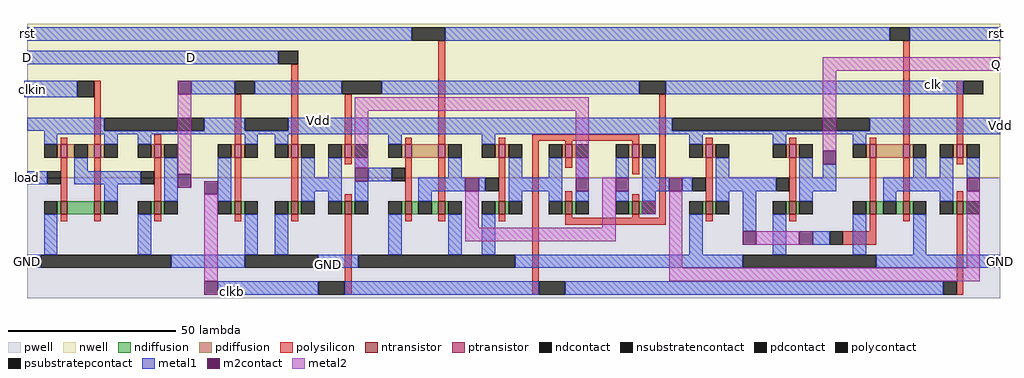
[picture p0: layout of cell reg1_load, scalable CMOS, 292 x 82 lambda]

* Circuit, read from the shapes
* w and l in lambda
.subckt reg1_load D GND Q Vdd clk clkb clkin load rst
M1 n1 load GND GND nfet w=4 l=2
M2 n2 clkin n1 GND nfet w=4 l=2
M3 clk n2 GND GND nfet w=4 l=2
M4 GND clk clkb GND nfet w=4 l=2
M5 n3 D GND GND nfet w=4 l=2
M6 n4 clkb n3 GND nfet w=4 l=2
M7 n5 n4 GND GND nfet w=4 l=2
M8 GND rst n5 GND nfet w=4 l=2
M9 n6 n5 GND GND nfet w=4 l=2
M10 n4 clk n6 GND nfet w=4 l=2
M11 n7 clk n5 GND nfet w=4 l=2
M12 n8 n7 GND GND nfet w=4 l=2
M13 Q n8 GND GND nfet w=4 l=2
M14 n9 n8 GND GND nfet w=4 l=2
M15 GND rst n9 GND nfet w=4 l=2
M16 n10 clkb n9 GND nfet w=4 l=2
M17 n2 load Vdd Vdd pfet w=4 l=2
M18 Vdd clkin n2 Vdd pfet w=4 l=2
M19 clk n2 Vdd Vdd pfet w=4 l=2
M20 Vdd clk clkb Vdd pfet w=4 l=2
M21 n3 D Vdd Vdd pfet w=4 l=2
M22 n4 clk n3 Vdd pfet w=4 l=2
M23 n11 n4 Vdd Vdd pfet w=4 l=2
M24 n5 rst n11 Vdd pfet w=4 l=2
M25 n6 n5 Vdd Vdd pfet w=4 l=2
M26 n4 clkb n6 Vdd pfet w=4 l=2
M27 n7 clkb n5 Vdd pfet w=4 l=2
M28 n8 n7 Vdd Vdd pfet w=4 l=2
M29 Q n8 Vdd Vdd pfet w=4 l=2
M30 n12 n8 Vdd Vdd pfet w=4 l=2
M31 n9 rst n12 Vdd pfet w=4 l=2
M32 n7 clk n9 Vdd pfet w=4 l=2
.ends

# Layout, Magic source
magic
tech scmos
<< pwell >>
rect -51 91 240 127
<< nwell >>
rect -51 127 240 173
<< polysilicon >>
rect -41 137 -39 139
rect -31 137 -29 156
rect -13 137 -11 140
rect 11 137 13 152
rect 28 137 30 161
rect 44 137 46 152
rect 62 137 64 139
rect 72 137 74 168
rect 90 137 92 139
rect 100 138 132 140
rect -41 120 -39 133
rect -31 120 -29 133
rect -13 120 -11 133
rect 11 120 13 133
rect 28 120 30 133
rect 44 131 46 133
rect 44 120 46 122
rect 62 120 64 133
rect 72 120 74 133
rect 90 120 92 133
rect -41 114 -39 116
rect -31 114 -29 116
rect -13 114 -11 116
rect 11 114 13 116
rect 28 114 30 116
rect 44 92 46 116
rect 62 114 64 116
rect 72 114 74 116
rect 90 114 92 116
rect 100 92 102 138
rect 110 137 112 138
rect 130 137 132 138
rect 110 130 112 133
rect 130 128 132 133
rect 110 120 112 123
rect 130 120 132 122
rect 110 115 112 116
rect 130 115 132 116
rect 138 115 140 152
rect 152 137 154 139
rect 177 137 179 139
rect 201 137 203 139
rect 211 137 213 168
rect 227 137 229 156
rect 152 120 154 133
rect 177 120 179 133
rect 201 120 203 133
rect 211 120 213 133
rect 227 131 229 133
rect 227 120 229 123
rect 110 113 140 115
rect 152 114 154 116
rect 177 114 179 116
rect 201 111 203 116
rect 211 114 213 116
rect 193 107 203 111
rect 227 92 229 116
<< ndiffusion >>
rect -42 116 -41 120
rect -39 116 -31 120
rect -29 116 -28 120
rect -14 116 -13 120
rect -11 116 -10 120
rect 10 116 11 120
rect 13 116 14 120
rect 27 116 28 120
rect 30 116 31 120
rect 43 116 44 120
rect 46 116 47 120
rect 61 116 62 120
rect 64 116 66 120
rect 70 116 72 120
rect 74 116 75 120
rect 89 116 90 120
rect 92 116 93 120
rect 109 116 110 120
rect 112 116 113 120
rect 129 116 130 120
rect 132 116 133 120
rect 151 116 152 120
rect 154 116 155 120
rect 176 116 177 120
rect 179 116 180 120
rect 200 116 201 120
rect 203 116 205 120
rect 209 116 211 120
rect 213 116 214 120
rect 226 116 227 120
rect 229 116 230 120
<< pdiffusion >>
rect -42 133 -41 137
rect -39 133 -37 137
rect -33 133 -31 137
rect -29 133 -28 137
rect -14 133 -13 137
rect -11 133 -10 137
rect 10 133 11 137
rect 13 133 14 137
rect 27 133 28 137
rect 30 133 31 137
rect 43 133 44 137
rect 46 133 47 137
rect 61 133 62 137
rect 64 133 72 137
rect 74 133 75 137
rect 89 133 90 137
rect 92 133 93 137
rect 109 133 110 137
rect 112 133 113 137
rect 129 133 130 137
rect 132 133 133 137
rect 151 133 152 137
rect 154 133 155 137
rect 176 133 177 137
rect 179 133 180 137
rect 200 133 201 137
rect 203 133 211 137
rect 213 133 214 137
rect 226 133 227 137
rect 229 133 230 137
<< metal1 >>
rect -51 168 64 172
rect 74 168 207 172
rect 213 168 240 172
rect -51 161 24 165
rect -52 151 -36 156
rect -2 152 11 156
rect 17 152 43 156
rect 55 152 132 156
rect 140 152 229 156
rect -51 141 -28 145
rect 2 141 14 145
rect 27 141 142 145
rect 201 141 240 145
rect -46 140 240 141
rect -46 137 -42 140
rect -28 137 -24 140
rect -18 137 -14 140
rect 14 137 18 140
rect -37 129 -33 133
rect -51 125 -45 129
rect -37 125 -17 129
rect -28 120 -24 125
rect -10 120 -6 133
rect 23 137 27 140
rect 57 137 61 140
rect 85 137 89 140
rect 147 137 151 140
rect 172 137 176 140
rect 196 137 200 140
rect 6 120 10 133
rect 31 127 35 133
rect 39 127 43 133
rect 31 123 43 127
rect 31 120 35 123
rect -46 104 -42 116
rect -18 104 -14 116
rect 14 104 18 116
rect 39 120 43 123
rect 47 130 51 133
rect 51 126 58 130
rect 75 127 79 133
rect 93 127 97 133
rect 105 127 109 133
rect 47 120 51 126
rect 66 123 80 127
rect 84 123 86 127
rect 93 123 109 127
rect 66 120 70 123
rect 93 120 97 123
rect 23 104 27 116
rect 57 104 61 116
rect 75 104 79 116
rect 105 120 109 123
rect 113 127 117 133
rect 113 120 117 123
rect 125 127 129 133
rect 125 120 129 123
rect 133 127 137 133
rect 155 127 159 133
rect 180 127 184 133
rect 187 127 191 131
rect 214 127 218 133
rect 222 127 226 133
rect 133 123 141 127
rect 145 123 148 127
rect 155 123 173 127
rect 180 123 191 127
rect 205 123 226 127
rect 230 127 234 133
rect 133 120 137 123
rect 155 120 159 123
rect 85 104 89 116
rect 147 104 151 116
rect 163 111 167 123
rect 180 120 184 123
rect 205 120 209 123
rect 222 120 226 123
rect 172 104 176 116
rect 184 107 189 111
rect 196 104 200 116
rect 214 104 218 116
rect -51 100 -47 104
rect -8 100 14 104
rect 36 100 48 104
rect 95 100 163 104
rect 203 100 240 104
rect 6 92 36 96
rect 44 92 102 96
rect 110 92 223 96
<< metal2 >>
rect 187 159 240 163
rect -6 128 -2 152
rect 47 147 117 151
rect 47 130 51 147
rect 113 127 117 147
rect 187 135 191 159
rect 2 96 6 122
rect 80 112 84 123
rect 121 112 125 127
rect 133 116 137 120
rect 80 108 125 112
rect 141 100 145 123
rect 167 107 180 111
rect 230 100 234 123
rect 141 96 234 100
<< ntransistor >>
rect -41 116 -39 120
rect -31 116 -29 120
rect -13 116 -11 120
rect 11 116 13 120
rect 28 116 30 120
rect 44 116 46 120
rect 62 116 64 120
rect 72 116 74 120
rect 90 116 92 120
rect 110 116 112 120
rect 130 116 132 120
rect 152 116 154 120
rect 177 116 179 120
rect 201 116 203 120
rect 211 116 213 120
rect 227 116 229 120
<< ptransistor >>
rect -41 133 -39 137
rect -31 133 -29 137
rect -13 133 -11 137
rect 11 133 13 137
rect 28 133 30 137
rect 44 133 46 137
rect 62 133 64 137
rect 72 133 74 137
rect 90 133 92 137
rect 110 133 112 137
rect 130 133 132 137
rect 152 133 154 137
rect 177 133 179 137
rect 201 133 203 137
rect 211 133 213 137
rect 227 133 229 137
<< polycontact >>
rect 64 168 74 172
rect 207 168 213 172
rect 24 161 30 165
rect -36 151 -31 156
rect 11 152 17 156
rect 43 152 55 156
rect 132 152 140 156
rect -45 125 -41 129
rect -17 125 -13 129
rect 58 126 62 130
rect 86 123 90 127
rect 36 92 44 96
rect 229 152 235 156
rect 148 123 152 127
rect 173 123 177 127
rect 189 107 193 111
rect 102 92 110 96
rect 223 92 227 96
<< ndcontact >>
rect -46 116 -42 120
rect -28 116 -24 120
rect -18 116 -14 120
rect -10 116 -6 120
rect 6 116 10 120
rect 14 116 18 120
rect 23 116 27 120
rect 31 116 35 120
rect 39 116 43 120
rect 47 116 51 120
rect 57 116 61 120
rect 66 116 70 120
rect 75 116 79 120
rect 85 116 89 120
rect 93 116 97 120
rect 105 116 109 120
rect 113 116 117 120
rect 125 116 129 120
rect 133 116 137 120
rect 147 116 151 120
rect 155 116 159 120
rect 172 116 176 120
rect 180 116 184 120
rect 196 116 200 120
rect 205 116 209 120
rect 214 116 218 120
rect 222 116 226 120
rect 230 116 234 120
<< pdcontact >>
rect -46 133 -42 137
rect -37 133 -33 137
rect -28 133 -24 137
rect -18 133 -14 137
rect -10 133 -6 137
rect 6 133 10 137
rect 14 133 18 137
rect 23 133 27 137
rect 31 133 35 137
rect 39 133 43 137
rect 47 133 51 137
rect 57 133 61 137
rect 75 133 79 137
rect 85 133 89 137
rect 93 133 97 137
rect 105 133 109 137
rect 113 133 117 137
rect 125 133 129 137
rect 133 133 137 137
rect 147 133 151 137
rect 155 133 159 137
rect 172 133 176 137
rect 180 133 184 137
rect 196 133 200 137
rect 214 133 218 137
rect 222 133 226 137
rect 230 133 234 137
<< m2contact >>
rect -6 152 -2 156
rect -6 124 -2 128
rect 2 122 6 126
rect 47 126 51 130
rect 80 123 84 127
rect 113 123 117 127
rect 125 123 129 127
rect 187 131 191 135
rect 141 123 145 127
rect 230 123 234 127
rect 163 107 167 111
rect 180 107 184 111
rect 2 92 6 96
<< psubstratepcontact >>
rect -47 100 -8 104
rect 14 100 36 104
rect 48 100 95 104
rect 163 100 203 104
<< nsubstratencontact >>
rect -28 141 2 145
rect 14 141 27 145
rect 142 141 201 145
<< labels >>
rlabel metal1 -2 163 -2 163 7 D
rlabel metal1 220 155 220 155 5 clk
rlabel metal1 36 144 36 144 5 Vdd
rlabel metal1 39 101 39 101 1 GND
rlabel metal1 -51 125 -51 129 7 load
rlabel metal2 239 161 239 161 3 Q
rlabel metal1 -51 161 -51 165 7 D
rlabel metal1 10 93 11 93 1 clkb
rlabel metal1 -51 100 -51 104 3 GND
rlabel metal1 240 100 240 104 7 GND
rlabel metal1 -51 168 -51 172 7 rst
rlabel metal1 239 170 239 170 3 rst
rlabel metal1 240 140 240 145 7 Vdd
rlabel metal1 -52 151 -47 156 7 clkin
<< end >>
